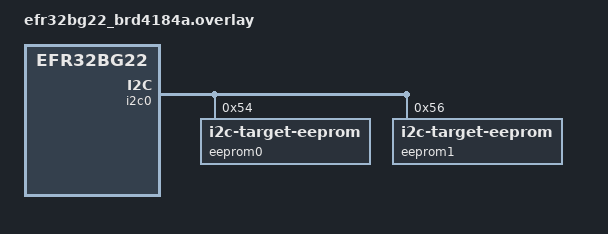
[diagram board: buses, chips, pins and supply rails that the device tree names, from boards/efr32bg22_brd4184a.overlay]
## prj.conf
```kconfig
CONFIG_LOG=y
CONFIG_I2C_LOG_LEVEL_INF=y
CONFIG_BOOT_BANNER=y
CONFIG_ZTEST=y
CONFIG_ZTEST_NEW_API=y
CONFIG_I2C=y
CONFIG_I2C_TARGET=y
CONFIG_I2C_EEPROM_TARGET=y
CONFIG_I2C_VIRTUAL=y
```

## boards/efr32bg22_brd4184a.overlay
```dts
/* SPDX-License-Identifier: Apache-2.0 */

&i2c0 {
	eeprom0: eeprom@54 {
		compatible = "zephyr,i2c-target-eeprom";
		reg = <0x54>;
		size = <1024>;
	};
	eeprom1: eeprom@56 {
		compatible = "zephyr,i2c-target-eeprom";
		reg = <0x56>;
		size = <1024>;
	};
};
```

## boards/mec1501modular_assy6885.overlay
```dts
/*
 * Copyright (c) 2020 Intel Corporation
 *
 * SPDX-License-Identifier: Apache-2.0
 */

&i2c_smb_0 {
	eeprom0: eeprom@54 {
		compatible = "zephyr,i2c-target-eeprom";
		reg = <0x54>;
		size = <1024>;
	};
};


&i2c_smb_1 {
	eeprom1: eeprom@56 {
		compatible = "zephyr,i2c-target-eeprom";
		reg = <0x56>;
		size = <1024>;
	};
};
```

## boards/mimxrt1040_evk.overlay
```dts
/*
 * Copyright 2023 NXP
 *
 * SPDX-License-Identifier: Apache-2.0
 */


/*
 * Note: this sample requires the board to be modified! Populate resistors
 * R362 and R356.
 * To test this sample, connect J17.9<->J17.3 (SDA), J17.10<->J17.6 (SCL)
 */


&lpi2c1 {
	status = "okay";
	eeprom0: eeprom@54 {
		compatible = "atmel,at24";
		reg = <0x54>;
		size = <1024>;
		pagesize = <16>;
		address-width = <8>;
		timeout = <5>;
	};
};

&lpi2c3 {
	status = "okay";
	eeprom1: eeprom@56 {
		compatible = "atmel,at24";
		reg = <0x56>;
		size = <1024>;
		pagesize = <16>;
		address-width = <8>;
		timeout = <5>;
	};
};
```

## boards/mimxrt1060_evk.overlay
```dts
/*
 * Copyright 2023 NXP
 *
 * SPDX-License-Identifier: Apache-2.0
 */

&pinctrl {
	pinmux_lpi2c3: pinmux_lpi2c3 {
		group0 {
			pinmux = <&iomuxc_gpio_ad_b1_06_lpi2c3_sda>,
				<&iomuxc_gpio_ad_b1_07_lpi2c3_scl>;
			drive-strength = "r0-6";
			drive-open-drain;
			slew-rate = "slow";
			nxp,speed = "100-mhz";
			input-enable;
		};
	};
};

/* To test this sample, connect J22.2 <-> J24.9 and J22.1 <-> J24.10 */

&lpi2c1 {
	status = "okay";
	eeprom0: eeprom@54 {
		compatible = "zephyr,i2c-target-eeprom";
		reg = <0x54>;
		size = <1024>;
	};
};

&lpi2c3 {
	status = "okay";
	pinctrl-0 = <&pinmux_lpi2c3>;
	pinctrl-names = "default";
	eeprom1: eeprom@56 {
		compatible = "zephyr,i2c-target-eeprom";
		reg = <0x56>;
		size = <1024>;
	};
};
```

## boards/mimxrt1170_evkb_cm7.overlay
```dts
/*
 * Copyright 2023 NXP
 *
 * SPDX-License-Identifier: Apache-2.0
 */

/* To test this sample, connect J26.12 <-> J10.20 and J26.10 <-> J10.18 */

&lpi2c1 {
	status = "okay";
	eeprom0: eeprom@54 {
		compatible = "zephyr,i2c-target-eeprom";
		reg = <0x54>;
		size = <1024>;
	};
};

&lpi2c5 {
	status = "okay";
	eeprom1: eeprom@56 {
		compatible = "zephyr,i2c-target-eeprom";
		reg = <0x56>;
		size = <1024>;
	};
};
```

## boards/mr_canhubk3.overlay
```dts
/*
 * Copyright 2023 NXP
 *
 * SPDX-License-Identifier: Apache-2.0
 */

/* Connect P3.2 <-> P4.3 and P3.3 <-> P4.4 */

&lpi2c0 {
	status = "okay";
	eeprom0: eeprom@54 {
		compatible = "zephyr,i2c-target-eeprom";
		reg = <0x54>;
		size = <1024>;
	};
};

&lpi2c1 {
	status = "okay";
	eeprom1: eeprom@56 {
		compatible = "zephyr,i2c-target-eeprom";
		reg = <0x56>;
		size = <1024>;
	};
};
```

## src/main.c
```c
/*
 * Copyright (c) 2017 BayLibre, SAS
 * Copyright (c) 2020 Nordic Semiconductor ASA
 *
 * SPDX-License-Identifier: Apache-2.0
 */

#include <errno.h>
#include <string.h>

#include <zephyr/kernel.h>
#include <zephyr/device.h>
#include <stdio.h>
#include <zephyr/sys/util.h>

#include <zephyr/drivers/i2c.h>
#include <zephyr/drivers/i2c/target/eeprom.h>

#include <zephyr/ztest.h>

#define NODE_EP0 DT_NODELABEL(eeprom0)
#define NODE_EP1 DT_NODELABEL(eeprom1)

#define TEST_DATA_SIZE	20
static const uint8_t eeprom_0_data[TEST_DATA_SIZE] = "0123456789abcdefghij";
static const uint8_t eeprom_1_data[TEST_DATA_SIZE] = "jihgfedcba9876543210";
static uint8_t i2c_buffer[TEST_DATA_SIZE];

/*
 * We need 5x(buffer size) + 1 to print a comma-separated list of each
 * byte in hex, plus a null.
 */
uint8_t buffer_print_eeprom[TEST_DATA_SIZE * 5 + 1];
uint8_t buffer_print_i2c[TEST_DATA_SIZE * 5 + 1];

static void to_display_format(const uint8_t *src, size_t size, char *dst)
{
	size_t i;

	for (i = 0; i < size; i++) {
		sprintf(dst + 5 * i, "0x%02x,", src[i]);
	}
}

static int run_full_read(const struct device *i2c, uint8_t addr,
			 const uint8_t *comp_buffer)
{
	int ret;

	TC_PRINT("Testing full read: Master: %s, address: 0x%x\n",
		 i2c->name, addr);

	/* Read EEPROM from I2C Master requests, then compare */
	ret = i2c_burst_read(i2c, addr, 0, i2c_buffer, TEST_DATA_SIZE);
	zassert_equal(ret, 0, "Failed to read EEPROM");

	if (memcmp(i2c_buffer, comp_buffer, TEST_DATA_SIZE)) {
		to_display_format(i2c_buffer, TEST_DATA_SIZE,
				  buffer_print_i2c);
		to_display_format(comp_buffer, TEST_DATA_SIZE,
				  buffer_print_eeprom);
		TC_PRINT("Error: Buffer contents are different: %s\n",
			 buffer_print_i2c);
		TC_PRINT("                         vs expected: %s\n",
			 buffer_print_eeprom);
		return -EIO;
	}

	return 0;
}

static int run_partial_read(const struct device *i2c, uint8_t addr,
			    const uint8_t *comp_buffer, unsigned int offset)
{
	int ret;

	TC_PRINT("Testing partial read. Master: %s, address: 0x%x, off=%d\n",
		 i2c->name, addr, offset);

	ret = i2c_burst_read(i2c, addr,
			     offset, i2c_buffer, TEST_DATA_SIZE-offset);
	zassert_equal(ret, 0, "Failed to read EEPROM");

	if (memcmp(i2c_buffer, &comp_buffer[offset], TEST_DATA_SIZE-offset)) {
		to_display_format(i2c_buffer, TEST_DATA_SIZE-offset,
				  buffer_print_i2c);
		to_display_format(&comp_buffer[offset], TEST_DATA_SIZE-offset,
				  buffer_print_eeprom);
		TC_PRINT("Error: Buffer contents are different: %s\n",
			 buffer_print_i2c);
		TC_PRINT("                         vs expected: %s\n",
			 buffer_print_eeprom);
		return -EIO;
	}

	return 0;
}

static int run_program_read(const struct device *i2c, uint8_t addr,
			    unsigned int offset)
{
	int ret, i;

	TC_PRINT("Testing program. Master: %s, address: 0x%x, off=%d\n",
		i2c->name, addr, offset);

	for (i = 0 ; i < TEST_DATA_SIZE-offset ; ++i) {
		i2c_buffer[i] = i;
	}

	ret = i2c_burst_write(i2c, addr,
			      offset, i2c_buffer, TEST_DATA_SIZE-offset);
	zassert_equal(ret, 0, "Failed to write EEPROM");

	(void)memset(i2c_buffer, 0xFF, TEST_DATA_SIZE);

	/* Read back EEPROM from I2C Master requests, then compare */
	ret = i2c_burst_read(i2c, addr,
			     offset, i2c_buffer, TEST_DATA_SIZE-offset);
	zassert_equal(ret, 0, "Failed to read EEPROM");

	for (i = 0 ; i < TEST_DATA_SIZE-offset ; ++i) {
		if (i2c_buffer[i] != i) {
			to_display_format(i2c_buffer, TEST_DATA_SIZE-offset,
					  buffer_print_i2c);
			TC_PRINT("Error: Unexpected buffer content: %s\n",
				 buffer_print_i2c);
			return -EIO;
		}
	}

	return 0;
}

ZTEST(i2c_eeprom_target, test_eeprom_target)
{
	const struct device *const eeprom_0 = DEVICE_DT_GET(NODE_EP0);
	const struct device *const i2c_0 = DEVICE_DT_GET(DT_BUS(NODE_EP0));
	int addr_0 = DT_REG_ADDR(NODE_EP0);
	const struct device *const eeprom_1 = DEVICE_DT_GET(NODE_EP1);
	const struct device *const i2c_1 = DEVICE_DT_GET(DT_BUS(NODE_EP1));
	int addr_1 = DT_REG_ADDR(NODE_EP1);
	int ret, offset;

	zassert_not_null(i2c_0, "EEPROM 0 - I2C bus not found");
	zassert_not_null(eeprom_0, "EEPROM 0 device not found");

	zassert_true(device_is_ready(i2c_0), "EEPROM 0 - I2C bus not ready");

	TC_PRINT("Found EEPROM 0 on I2C bus device %s at addr %02x\n",
		 i2c_0->name, addr_0);

	zassert_not_null(i2c_1, "EEPROM 1 - I2C device not found");
	zassert_not_null(eeprom_1, "EEPROM 1 device not found");

	zassert_true(device_is_ready(i2c_1), "EEPROM 1 - I2C bus not ready");

	TC_PRINT("Found EEPROM 1 on I2C bus device %s at addr %02x\n",
		 i2c_1->name, addr_1);

	if (IS_ENABLED(CONFIG_APP_DUAL_ROLE_I2C)) {
		TC_PRINT("Testing dual-role\n");
	} else {
		TC_PRINT("Testing single-role\n");
	}

	/* Program differentiable data into the two devices through a back door
	 * that doesn't use I2C.
	 */
	ret = eeprom_target_program(eeprom_0, eeprom_0_data, TEST_DATA_SIZE);
	zassert_equal(ret, 0, "Failed to program EEPROM 0");
	if (IS_ENABLED(CONFIG_APP_DUAL_ROLE_I2C)) {
		ret = eeprom_target_program(eeprom_1, eeprom_1_data,
					   TEST_DATA_SIZE);
		zassert_equal(ret, 0, "Failed to program EEPROM 1");
	}

	/* Attach each EEPROM to its owning bus as a target device. */
	ret = i2c_target_driver_register(eeprom_0);
	zassert_equal(ret, 0, "Failed to register EEPROM 0");

	if (IS_ENABLED(CONFIG_APP_DUAL_ROLE_I2C)) {
		ret = i2c_target_driver_register(eeprom_1);
		zassert_equal(ret, 0, "Failed to register EEPROM 1");
	}

	/* The simulated EP0 is configured to be accessed as a target device
	 * at addr_0 on i2c_0 and should expose eeprom_0_data.  The validation
	 * uses i2c_1 as a bus master to access this device, which works because
	 * i2c_0 and i2_c have their SDA (SCL) pins shorted (they are on the
	 * same physical bus).  Thus in these calls i2c_1 is a master device
	 * operating on the target address addr_0.
	 *
	 * Similarly validation of EP1 uses i2c_0 as a master with addr_1 and
	 * eeprom_1_data for validation.
	 */
	ret = run_full_read(i2c_1, addr_0, eeprom_0_data);
	zassert_equal(ret, 0,
		     "Full I2C read from EP0 failed");
	if (IS_ENABLED(CONFIG_APP_DUAL_ROLE_I2C)) {
		ret = run_full_read(i2c_0, addr_1, eeprom_1_data);
		zassert_equal(ret, 0,
			      "Full I2C read from EP1 failed");
	}

	for (offset = 0 ; offset < TEST_DATA_SIZE-1 ; ++offset) {
		zassert_equal(0, run_partial_read(i2c_1, addr_0,
			      eeprom_0_data, offset),
			      "Partial I2C read EP0 failed");
		if (IS_ENABLED(CONFIG_APP_DUAL_ROLE_I2C)) {
			zassert_equal(0, run_partial_read(i2c_0, addr_1,
							  eeprom_1_data,
							  offset),
				      "Partial I2C read EP1 failed");
		}
	}

	for (offset = 0 ; offset < TEST_DATA_SIZE-1 ; ++offset) {
		zassert_equal(0, run_program_read(i2c_1, addr_0, offset),
			      "Program I2C read EP0 failed");
		if (IS_ENABLED(CONFIG_APP_DUAL_ROLE_I2C)) {
			zassert_equal(0, run_program_read(i2c_0, addr_1,
							  offset),
				      "Program I2C read EP1 failed");
		}
	}

	/* Detach EEPROM */
	ret = i2c_target_driver_unregister(eeprom_0);
	zassert_equal(ret, 0, "Failed to unregister EEPROM 0");

	if (IS_ENABLED(CONFIG_APP_DUAL_ROLE_I2C)) {
		ret = i2c_target_driver_unregister(eeprom_1);
		zassert_equal(ret, 0, "Failed to unregister EEPROM 1");
	}
}

ZTEST_SUITE(i2c_eeprom_target, NULL, NULL, NULL, NULL, NULL);
```
